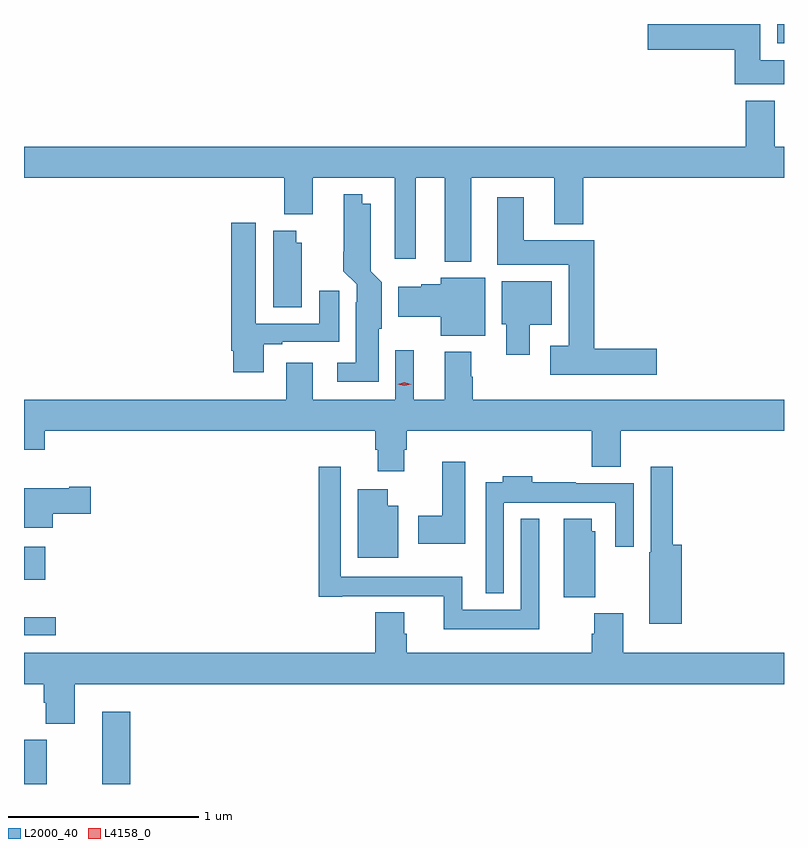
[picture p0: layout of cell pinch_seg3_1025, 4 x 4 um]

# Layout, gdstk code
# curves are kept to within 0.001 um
import gdstk
lib = gdstk.Library(unit=1e-6, precision=1e-09)
def R(c, l, rs):  # rectangles x0, y0, x1, y1
    for r in rs: c.add(gdstk.rectangle(r[:2], r[2:], *l))
def P(c, l, *ps):  # polygons
    for p in ps: c.add(gdstk.Polygon(p, *l))
L2000_40 = (2000, 40)
L4158_0 = (4158, 0)

pinch_seg3_1025 = lib.new_cell('pinch_seg3_1025')
R(pinch_seg3_1025, L2000_40, [(612.934,676.414,613.054,676.647), (612.934,677.196,613.102,677.292), (612.934,677.49,613.045,677.664), (616.898,680.312,616.934,680.414)])
P(pinch_seg3_1025, L2000_40, [(616.934,680.224),(616.81,680.224),(616.81,680.414),(616.218,680.414),(616.218,680.279),(616.676,680.279),(616.676,680.096),(616.934,680.096)],
  [(615.289,679.604),(615.725,679.604),(615.725,679.361),(615.878,679.361),(615.878,679.604),(616.934,679.604),(616.934,679.768),(616.885,679.768),(616.885,680.011),(616.733,680.011),(616.733,679.768),(612.934,679.768),(612.934,679.604),(614.303,679.604),(614.303,679.412),(614.455,679.412),(614.455,679.604),(614.885,679.604),(614.885,679.179),(614.995,679.179),(614.995,679.604),(615.149,679.604),(615.149,679.163),(615.289,679.163)],
  [(614.8,678.81),(614.818,678.81),(614.818,679.055),(614.759,679.114),(614.758,679.468),(614.713,679.468),(614.713,679.519),(614.616,679.519),(614.615,679.114),(614.685,679.044),(614.685,678.95),(614.681,678.95),(614.681,678.631),(614.583,678.631),(614.583,678.53),(614.8,678.53)],
  [(616.264,678.704),(615.935,678.704),(615.935,679.276),(615.565,679.276),(615.565,679.501),(615.425,679.501),(615.425,679.148),(615.8,679.148),(615.8,678.721),(615.705,678.721),(615.705,678.569),(616.264,678.569)],
  [(614.197,678.729),(614.293,678.729),(614.293,678.741),(614.593,678.741),(614.593,679.009),(614.489,679.009),(614.489,678.837),(614.155,678.837),(614.155,679.369),(614.024,679.369),(614.024,678.694),(614.036,678.694),(614.036,678.582),(614.197,678.582)],
  [(614.395,679.263),(614.368,679.263),(614.368,679.327),(614.246,679.327),(614.246,678.922),(614.395,678.922)],
  [(615.361,679.078),(615.128,679.078),(615.128,679.043),(615.024,679.043),(615.024,679.03),(614.904,679.03),(614.904,678.872),(615.128,678.872),(615.128,678.773),(615.361,678.773)],
  [(615.595,678.83),(615.712,678.83),(615.712,679.06),(615.449,679.06),(615.449,678.834),(615.473,678.834),(615.473,678.672),(615.595,678.672)],
  [(614.935,678.174),(614.948,678.174),(614.948,678.272),(615.923,678.272),(615.923,678.083),(616.075,678.083),(616.075,678.272),(616.934,678.272),(616.934,678.436),(615.297,678.436),(615.297,678.557),(615.289,678.557),(615.289,678.688),(615.149,678.688),(615.149,678.436),(614.986,678.436),(614.986,678.697),(614.889,678.697),(614.889,678.436),(614.455,678.436),(614.455,678.631),(614.315,678.631),(614.315,678.436),(612.934,678.436),(612.934,678.173),(613.043,678.173),(613.043,678.272),(614.783,678.272),(614.783,678.174),(614.795,678.174),(614.795,678.06),(614.935,678.06)],
  [(615.256,678.109),(615.134,678.109),(615.134,677.826),(615.009,677.826),(615.009,677.678),(615.256,677.678)],
  [(615.646,677.809),(615.549,677.809),(615.549,677.332),(615.24,677.332),(615.24,677.506),(614.601,677.506),(614.601,678.085),(614.485,678.085),(614.485,677.4),(614.608,677.4),(614.608,677.402),(615.143,677.402),(615.143,677.228),(615.646,677.228)],
  [(616.397,677.674),(616.349,677.674),(616.349,678.085),(616.233,678.085),(616.233,677.634),(616.226,677.634),(616.226,677.258),(616.397,677.258)],
  [(615.459,677.894),(616.047,677.894),(616.047,677.664),(616.143,677.664),(616.143,677.998),(615.839,677.998),(615.839,678.001),(615.608,678.001),(615.608,678.034),(615.455,678.034),(615.455,678.001),(615.363,678.001),(615.363,677.417),(615.459,677.417)],
  [(613.084,677.837),(613.285,677.837),(613.285,677.979),(613.172,677.979),(613.172,677.971),(612.934,677.971),(612.934,677.762),(613.084,677.762)],
  [(614.905,677.878),(614.848,677.878),(614.848,677.965),(614.69,677.965),(614.69,677.606),(614.905,677.606)],
  [(615.94,677.745),(615.922,677.745),(615.922,677.809),(615.776,677.809),(615.776,677.398),(615.94,677.398)],
  [(613.202,676.94),(616.934,676.94),(616.934,677.104),(616.088,677.104),(616.088,677.313),(615.935,677.313),(615.935,677.204),(615.923,677.204),(615.923,677.104),(614.948,677.104),(614.948,677.205),(614.935,677.205),(614.935,677.317),(614.783,677.317),(614.783,677.104),(612.934,677.104),(612.934,676.94),(613.037,676.94),(613.037,676.841),(613.049,676.841),(613.049,676.732),(613.202,676.732)],
  [(613.493,676.795),(613.346,676.795),(613.346,676.474),(613.347,676.474),(613.347,676.414),(613.493,676.414)])
P(pinch_seg3_1025, L4158_0, [(614.936,678.509),(614.901,678.519),(614.901,678.519),(614.901,678.519),(614.936,678.529),(614.971,678.519),(614.971,678.519),(614.971,678.519)])

lib.write_gds('pinch_seg3_1025.gds')
